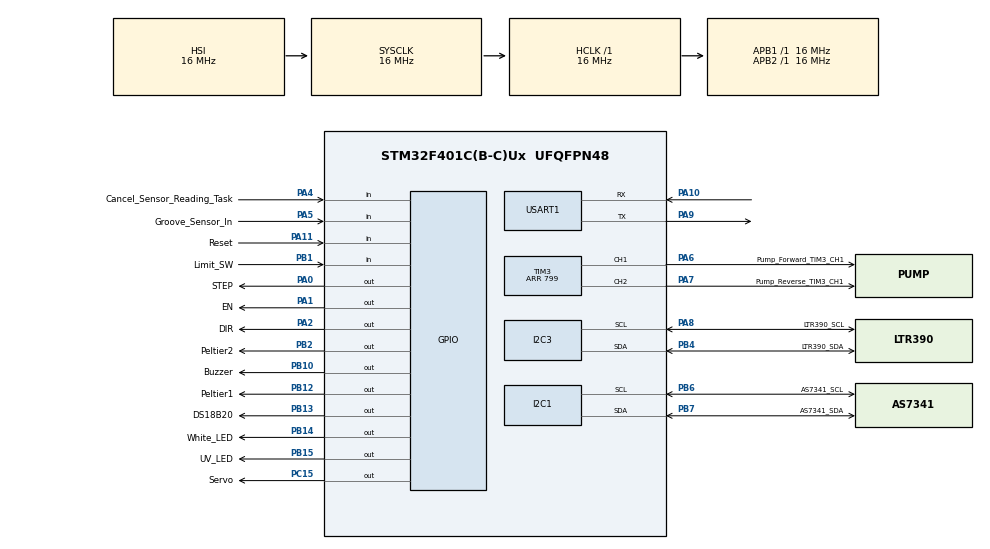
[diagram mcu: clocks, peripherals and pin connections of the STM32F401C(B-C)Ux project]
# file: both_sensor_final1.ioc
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Dma.Request0=USART1_RX
Dma.Request1=USART1_TX
Dma.USART1_RX.0.Direction=DMA_PERIPH_TO_MEMORY
Dma.USART1_RX.0.FIFOMode=DMA_FIFOMODE_DISABLE
Dma.USART1_RX.0.Instance=DMA2_Stream2
Dma.USART1_RX.0.MemDataAlignment=DMA_MDATAALIGN_BYTE
Dma.USART1_RX.0.MemInc=DMA_MINC_ENABLE
Dma.USART1_RX.0.Mode=DMA_NORMAL
Dma.USART1_RX.0.PeriphDataAlignment=DMA_PDATAALIGN_BYTE
Dma.USART1_RX.0.PeriphInc=DMA_PINC_DISABLE
Dma.USART1_RX.0.Priority=DMA_PRIORITY_HIGH
Dma.USART1_TX.1.Direction=DMA_MEMORY_TO_PERIPH
Dma.USART1_TX.1.FIFOMode=DMA_FIFOMODE_DISABLE
Dma.USART1_TX.1.Instance=DMA2_Stream7
Dma.USART1_TX.1.MemDataAlignment=DMA_MDATAALIGN_BYTE
Dma.USART1_TX.1.MemInc=DMA_MINC_ENABLE
Dma.USART1_TX.1.Mode=DMA_NORMAL
Dma.USART1_TX.1.PeriphDataAlignment=DMA_PDATAALIGN_BYTE
Dma.USART1_TX.1.PeriphInc=DMA_PINC_DISABLE
Dma.USART1_TX.1.Priority=DMA_PRIORITY_HIGH
FREERTOS.BinarySemaphores01=messageI2C1_Lock,Dynamic,NULL,Available
FREERTOS.Mutexes01=pumpMutex,Dynamic,NULL,Available;uart1Mutex,Dynamic,NULL,Available;waitForIdleMutex,Dynamic,NULL,Available
FREERTOS.Tasks01=AS7341_Send,24,256,StartAS7341Task,Default,NULL,Dynamic,NULL,NULL;Send_LTR390,24,256,StartLTR390,Default,NULL,Dynamic,NULL,NULL;UartSend,40,128,SendUART,Default,NULL,Dynamic,NULL,NULL;Stepper_Home,24,128,StartStepperHome,Default,NULL,Dynamic,NULL,NULL;White_Led_Align,24,128,White_Led,Default,NULL,Dynamic,NULL,NULL;UV_Led_Align,24,128,UV_Led,Default,NULL,Dynamic,NULL,NULL;Aspirate,24,128,Aspirate_Sample,Default,NULL,Dynamic,NULL,NULL;Command_Dispatc,40,256,Command_Dispatcher,Default,NULL,Dynamic,NULL,NULL;Limit_sw,32,128,Limit_sw_pressed,Default,NULL,Dynamic,NULL,NULL;Clean_Flow_Cell,24,128,Flow_Cell_Clean,Default,NULL,Dynamic,NULL,NULL;initialize_pump,8,128,pump_initialize,Default,NULL,Dynamic,NULL,NULL;Reset,32,128,reset,Default,NULL,Dynamic,NULL,NULL;Cancel_Sensor_R,8,128,Cancel_Read_Sensor,Default,NULL,Dynamic,NULL,NULL
FREERTOS.configUSE_NEWLIB_REENTRANT=1
Mcu.Family=STM32F4
Mcu.Name=STM32F401C(B-C)Ux
Mcu.Package=UFQFPN48
NVIC.DMA2_Stream2_IRQn=true\:5\:0\:false\:false\:true\:true\:false\:true\:true
NVIC.DMA2_Stream7_IRQn=true\:5\:0\:false\:false\:true\:true\:false\:true\:true
NVIC.I2C1_ER_IRQn=true\:5\:0\:false\:false\:true\:true\:true\:true\:true
NVIC.I2C1_EV_IRQn=true\:5\:0\:false\:false\:true\:true\:true\:true\:true
NVIC.I2C3_ER_IRQn=true\:5\:0\:false\:false\:true\:true\:true\:true\:true
NVIC.I2C3_EV_IRQn=true\:5\:0\:false\:false\:true\:true\:true\:true\:true
NVIC.PriorityGroup=NVIC_PRIORITYGROUP_4
NVIC.TIM3_IRQn=true\:5\:0\:false\:false\:true\:true\:true\:true\:true
NVIC.TIM4_IRQn=true\:15\:0\:false\:false\:true\:false\:false\:true\:true
NVIC.TimeBase=TIM4_IRQn
NVIC.TimeBaseIP=TIM4
NVIC.USART1_IRQn=true\:5\:0\:false\:false\:true\:true\:true\:true\:true
PA0-WKUP.GPIO_Label=STEP
PA0-WKUP.Signal=GPIO_Output
PA1.GPIO_Label=EN
PA1.PinState=GPIO_PIN_SET
PA1.Signal=GPIO_Output
PA10.Mode=Asynchronous
PA10.Signal=USART1_RX
PA11.GPIO_Label=Reset
PA11.GPIO_PuPd=GPIO_PULLDOWN
PA11.Signal=GPIO_Input
PA13.Mode=Trace_Asynchronous_SW
PA13.Signal=SYS_JTMS-SWDIO
PA14.Mode=Trace_Asynchronous_SW
PA14.Signal=SYS_JTCK-SWCLK
PA2.GPIO_Label=DIR
PA2.Signal=GPIO_Output
PA4.GPIO_Label=Cancel_Sensor_Reading_Task
PA4.GPIO_PuPd=GPIO_PULLDOWN
PA4.Signal=GPIO_Input
PA5.GPIO_Label=Groove_Sensor_In
PA5.Signal=GPIO_Input
PA6.GPIO_Label=Pump_Forward_TIM3_CH1
PA6.Signal=S_TIM3_CH1
PA7.GPIO_Label=Pump_Reverse_TIM3_CH1
PA7.Signal=S_TIM3_CH2
PA8.GPIO_Label=LTR390_SCL
PA8.Mode=I2C
PA8.Signal=I2C3_SCL
PA9.Mode=Asynchronous
PA9.Signal=USART1_TX
PB1.GPIO_Label=Limit_SW
PB1.GPIO_PuPd=GPIO_PULLDOWN
PB1.Signal=GPIO_Input
PB10.GPIO_Label=Buzzer
PB10.Signal=GPIO_Output
PB12.GPIO_Label=Peltier1
PB12.Signal=GPIO_Output
PB13.GPIO_Label=DS18B20
PB13.GPIO_ModeDefaultOutputPP=GPIO_MODE_OUTPUT_OD
PB13.GPIO_PuPd=GPIO_NOPULL
PB13.Signal=GPIO_Output
PB14.GPIO_Label=White_LED
PB14.Signal=GPIO_Output
PB15.GPIO_Label=UV_LED
PB15.Signal=GPIO_Output
PB2.GPIO_Label=Peltier2
PB2.Signal=GPIO_Output
PB3.Mode=Trace_Asynchronous_SW
PB3.Signal=SYS_JTDO-SWO
PB4.GPIO_Label=LTR390_SDA
PB4.Mode=I2C
PB4.Signal=I2C3_SDA
PB6.GPIO_Label=AS7341_SCL
PB6.Mode=I2C
PB6.Signal=I2C1_SCL
PB7.GPIO_Label=AS7341_SDA
PB7.Mode=I2C
PB7.Signal=I2C1_SDA
PC15-OSC32_OUT.GPIO_Label=Servo
PC15-OSC32_OUT.Signal=GPIO_Output
ProjectManager.HeapSize=0x200
ProjectManager.StackSize=0x400
ProjectManager.TargetToolchain=STM32CubeIDE
RCC.AHBFreq_Value=16000000
RCC.APB1Freq_Value=16000000
RCC.APB2Freq_Value=16000000
RCC.CortexFreq_Value=16000000
RCC.HSE_VALUE=25000000
RCC.HSI_VALUE=16000000
RCC.LSE_VALUE=32768
RCC.SYSCLKFreq_VALUE=16000000
RCC.VCOOutputFreq_Value=192000000
SH.S_TIM3_CH1.0=TIM3_CH1,PWM Generation1 CH1
SH.S_TIM3_CH2.0=TIM3_CH2,PWM Generation2 CH2
TIM2.AutoReloadPreload=TIM_AUTORELOAD_PRELOAD_ENABLE
TIM2.Period=999
TIM2.Prescaler=83
TIM3.AutoReloadPreload=TIM_AUTORELOAD_PRELOAD_ENABLE
TIM3.Channel-PWM\ Generation1\ CH1=TIM_CHANNEL_1
TIM3.Channel-PWM\ Generation2\ CH2=TIM_CHANNEL_2
TIM3.Period=799
USART1.VirtualMode=VM_ASYNC
VP_FREERTOS_VS_CMSIS_V2.Mode=CMSIS_V2
VP_SYS_VS_tim4.Mode=TIM4
VP_TIM2_VS_ClockSourceINT.Mode=Internal
board=custom

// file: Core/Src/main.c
/* USER CODE BEGIN Header */
/**
  ******************************************************************************
  * @file           : main.c
  * @brief          : Main program body
  ******************************************************************************
  * @attention
  *
  * Copyright (c) 2026 STMicroelectronics.
  * All rights reserved.
  *
  * This software is licensed under terms that can be found in the LICENSE file
  * in the root directory of this software component.
  * If no LICENSE file comes with this software, it is provided AS-IS.
  *
  ******************************************************************************
  */
/* USER CODE END Header */
#include "main.h"
#include "cmsis_os.h"

/* USER CODE BEGIN Includes */
#include "Adafruit_AS7341.h"
#include "LTR390.h"
#include <string.h>
#include <stdio.h>

#include "Stepper.h"
#include "pump.h"

#include <stdarg.h>  /* Add this for variadic functions */
/* USER CODE END Includes */

/* USER CODE BEGIN PTD */
typedef struct
{
    uint8_t sensor;
    uint32_t duration;
    uint32_t incubation;
    uint32_t delay;      /* Delay between readings in seconds */
    uint8_t start;      /* 1=sensor, 2=stepper, 3=white, 4=uv, 5=aspirate, 6=clean */
} UART_ExecutionCommand_t;

typedef enum {
    STATE_IDLE = 0,
    STATE_WHITE_LED_ALIGN,
    STATE_UV_LED_ALIGN,
    STATE_STEPPER_HOME,
    STATE_ASPIRATE_SAMPLE,
    STATE_AS7341_MEASURE,
    STATE_LTR390_MEASURE,
	STATE_FLOW_CELL_CLEAN
} SystemState_t;
/* USER CODE END PTD */

/* USER CODE BEGIN PD */
#define SENSOR_NONE    0
#define SENSOR_AS7341  1
#define SENSOR_LTR390  2

#define LED_ON  1
#define LED_OFF 0

#define CANCEL_POLL_MS 25

#define TX_QUEUE_WAIT_TICKS 20

#define RX_BUFFER_SIZE 64

/* Add this for mutex timeouts */
#define MUTEX_TIMEOUT_MS    1000
#define MUTEX_TIMEOUT_TICKS (MUTEX_TIMEOUT_MS * configTICK_RATE_HZ / 1000)

#define BUSY_GRACE_MS 250
/* USER CODE END PD */

I2C_HandleTypeDef hi2c1;
I2C_HandleTypeDef hi2c3;

TIM_HandleTypeDef htim2;
TIM_HandleTypeDef htim3;

UART_HandleTypeDef huart1;
DMA_HandleTypeDef hdma_usart1_rx;
DMA_HandleTypeDef hdma_usart1_tx;

/* Definitions for AS7341_Send */
osThreadId_t AS7341_SendHandle;
const osThreadAttr_t AS7341_Send_attributes = {
  .name = "AS7341_Send",
  .stack_size = 256 * 4,
  .priority = (osPriority_t) osPriorityNormal,
};
/* Definitions for Send_LTR390 */
osThreadId_t Send_LTR390Handle;
const osThreadAttr_t Send_LTR390_attributes = {
  .name = "Send_LTR390",
  .stack_size = 256 * 4,
  .priority = (osPriority_t) osPriorityNormal,
};
/* Definitions for UartSend */
osThreadId_t UartSendHandle;
const osThreadAttr_t UartSend_attributes = {
  .name = "UartSend",
  .stack_size = 128 * 4,
  .priority = (osPriority_t) osPriorityHigh,
};
/* Definitions for Stepper_Home */
osThreadId_t Stepper_HomeHandle;
const osThreadAttr_t Stepper_Home_attributes = {
  .name = "Stepper_Home",
  .stack_size = 128 * 4,
  .priority = (osPriority_t) osPriorityNormal,
};
/* Definitions for White_Led_Align */
osThreadId_t White_Led_AlignHandle;
const osThreadAttr_t White_Led_Align_attributes = {
  .name = "White_Led_Align",
  .stack_size = 128 * 4,
  .priority = (osPriority_t) osPriorityNormal,
};
/* Definitions for UV_Led_Align */
osThreadId_t UV_Led_AlignHandle;
const osThreadAttr_t UV_Led_Align_attributes = {
  .name = "UV_Led_Align",
  .stack_size = 128 * 4,
  .priority = (osPriority_t) osPriorityNormal,
};
/* Definitions for Aspirate */
osThreadId_t AspirateHandle;
const osThreadAttr_t Aspirate_attributes = {
  .name = "Aspirate",
  .stack_size = 128 * 4,
  .priority = (osPriority_t) osPriorityNormal,
};
/* Definitions for Command_Dispatc */
osThreadId_t Command_DispatcHandle;
const osThreadAttr_t Command_Dispatc_attributes = {
  .name = "Command_Dispatc",
  .stack_size = 256 * 4,
  .priority = (osPriority_t) osPriorityHigh,
};
/* Definitions for Limit_sw */
osThreadId_t Limit_swHandle;
const osThreadAttr_t Limit_sw_attributes = {
  .name = "Limit_sw",
  .stack_size = 128 * 4,
  .priority = (osPriority_t) osPriorityAboveNormal,
};
/* Definitions for Clean_Flow_Cell */
osThreadId_t Clean_Flow_CellHandle;
const osThreadAttr_t Clean_Flow_Cell_attributes = {
  .name = "Clean_Flow_Cell",
  .stack_size = 128 * 4,
  .priority = (osPriority_t) osPriorityNormal,
};
/* Definitions for initialize_pump */
osThreadId_t initialize_pumpHandle;
const osThreadAttr_t initialize_pump_attributes = {
  .name = "initialize_pump",
  .stack_size = 128 * 4,
  .priority = (osPriority_t) osPriorityLow,
};
/* Definitions for Reset */
osThreadId_t ResetHandle;
const osThreadAttr_t Reset_attributes = {
  .name = "Reset",
  .stack_size = 128 * 4,
  .priority = (osPriority_t) osPriorityAboveNormal,
};
/* Definitions for Cancel_Sensor_R */
osThreadId_t Cancel_Sensor_RHandle;
const osThreadAttr_t Cancel_Sensor_R_attributes = {
  .name = "Cancel_Sensor_R",
  .stack_size = 128 * 4,
  .priority = (osPriority_t) osPriorityLow,
};
/* Definitions for pumpMutex */
osMutexId_t pumpMutexHandle;
const osMutexAttr_t pumpMutex_attributes = {
  .name = "pumpMutex"
};
/* Definitions for uart1Mutex */
//osMutexId_t uart1MutexHandle;
//const osMutexAttr_t uart1Mutex_attributes = {
//  .name = "uart1Mutex"
//};
/* Definitions for waitForIdleMutex */
osMutexId_t waitForIdleMutexHandle;
const osMutexAttr_t waitForIdleMutex_attributes = {
  .name = "waitForIdleMutex"
};
/* Definitions for messageI2C1_Lock */
osSemaphoreId_t messageI2C1_LockHandle;
const osSemaphoreAttr_t messageI2C1_Lock_attributes = {
  .name = "messageI2C1_Lock"
};
/* USER CODE BEGIN PV */

/* UART TX Queue */
osMessageQueueId_t uartTxQueueHandle;

const osMessageQueueAttr_t uartTxQueue_attributes = {
    .name = "uartTxQueue"
};

/* UART RX Queue */
osMessageQueueId_t uartRxQueueHandle;

const osMessageQueueAttr_t uartRxQueue_attributes = {
    .name = "uartRxQueue"
};

Adafruit_AS7341_t as7341;
uint16_t spectral[10];

volatile uint32_t uv340 = 0;

uint8_t rxByte;
volatile char rxBuffer[RX_BUFFER_SIZE];
uint8_t rxIndex = 0;

uint8_t AS7341_Present = 0;

volatile SystemState_t systemState = STATE_IDLE;
volatile uint8_t limitSwitchPressed = 0;

volatile uint8_t initializePumpRequested = 0;

volatile uint8_t cancelSensorReading = 0;

volatile uint32_t uartTxQueueFull = 0;

/* UART TX Message Structure */
#define UART_TX_MSG_SIZE 128

typedef struct
{
    uint16_t length;
    uint8_t data[UART_TX_MSG_SIZE];
} UART_TxMessage_t;

/* RX Command Queue Structure */
#define RX_COMMAND_QUEUE_SIZE 10
#define RX_COMMAND_SIZE       64

typedef struct
{
    char command[RX_COMMAND_SIZE];
} UART_CommandMessage_t;

volatile UART_ExecutionCommand_t uartCmdTemp = {0};

volatile uint32_t uartErrorCode = 0;

volatile uint8_t measurementComplete = 0;  // Flag to indicate measurement is done

volatile uint32_t uartRxQueueOverflow = 0;
volatile uint8_t  uartRxQueueOverflowFlag = 0;   /* set by ISR, cleared by dispatcher */

/* ===== UART DMA RX ===== */
#define UART_RX_DMA_SIZE 128
static uint8_t uartRxDMA[UART_RX_DMA_SIZE];

/* Persistent line assembler — survives across RxEvent callbacks */
static char     rxLineBuf[RX_COMMAND_SIZE];
static uint16_t rxLineIdx = 0;

volatile uint32_t uartRxIdleEvents   = 0;
volatile uint32_t uartRxHalfEvents   = 0;
volatile uint32_t uartRxDmaErrors    = 0;

/* ===== UART DMA TX ===== */
static UART_TxMessage_t uartTxCurrent;      /* must outlive the DMA */
static osSemaphoreId_t  uartTxDoneSemHandle;
static const osSemaphoreAttr_t uartTxDoneSem_attributes = {
    .name = "uartTxDoneSem"
};
/* USER CODE END PV */

void SystemClock_Config(void);
static void MX_GPIO_Init(void);
static void MX_DMA_Init(void);
static void MX_I2C1_Init(void);
static void MX_I2C3_Init(void);
static void MX_USART1_UART_Init(void);
static void MX_TIM2_Init(void);
static void MX_TIM3_Init(void);
void StartAS7341Task(void *argument);
void StartLTR390(void *argument);
void SendUART(void *argument);
void StartStepperHome(void *argument);
void White_Led(void *argument);
void UV_Led(void *argument);
void Aspirate_Sample(void *argument);
void Command_Dispatcher(void *argument);
void Limit_sw_pressed(void *argument);
void Flow_Cell_Clean(void *argument);
void pump_initialize(void *argument);
void reset(void *argument);
void Cancel_Read_Sensor(void *argument);

/* USER CODE BEGIN PFP */
void ControlWhiteLED(uint8_t state);

void UART_Send(const char *message);
void UART_SendFormatted(const char *format, ...);
void ProcessUARTCommand(const char *command);

void WaitForIdleAndClean(void);

uint8_t WaitUntilOrAbort(uint32_t targetTick);
uint8_t WaitMsOrAbort(uint32_t ms);
void FinishAbortedRun(void);
/* USER CODE END PFP */

int main(void)
{

  /* MCU Configuration--------------------------------------------------------*/

  /* Reset of all peripherals, Initializes the Flash interface and the Systick. */
  HAL_Init();

  /* Configure the system clock */
  SystemClock_Config();

  /* Initialize all configured peripherals */
  MX_GPIO_Init();
  MX_DMA_Init();
  MX_I2C1_Init();
  MX_I2C3_Init();
  MX_USART1_UART_Init();
  MX_TIM2_Init();
  MX_TIM3_Init();
  /* USER CODE BEGIN 2 */
  PUMP_Init(&htim3);

  __HAL_UART_CLEAR_OREFLAG(&huart1);
  __HAL_UART_CLEAR_FEFLAG(&huart1);
  __HAL_UART_CLEAR_NEFLAG(&huart1);
  __HAL_UART_CLEAR_PEFLAG(&huart1);
  (void)huart1.Instance->DR;      /* read DR to clear RXNE if set */
  (void)huart1.Instance->SR;

//  ControlWhiteLED(LED_ON);   // WHITE LED ALWAYS ON

  /* USER CODE END 2 */

  /* Init scheduler */
  osKernelInitialize();
  /* Create the mutex(es) */
  /* creation of pumpMutex */
  pumpMutexHandle = osMutexNew(&pumpMutex_attributes);

  /* creation of uart1Mutex */
//  uart1MutexHandle = osMutexNew(&uart1Mutex_attributes);

  /* creation of waitForIdleMutex */
  waitForIdleMutexHandle = osMutexNew(&waitForIdleMutex_attributes);

  /* Create the semaphores(s) */
  /* creation of messageI2C1_Lock */
  messageI2C1_LockHandle = osSemaphoreNew(1, 1, &messageI2C1_Lock_attributes);

  /* USER CODE BEGIN RTOS_SEMAPHORES */

  uartTxDoneSemHandle = osSemaphoreNew(1, 0, &uartTxDoneSem_attributes);
  /* count=1, initial=0 → starts "empty" */

  /* add semaphores, ... */
  /* USER CODE END RTOS_SEMAPHORES */

  /* USER CODE BEGIN RTOS_QUEUES */
  uartTxQueueHandle = osMessageQueueNew(
      20,
      sizeof(UART_TxMessage_t),
      &uartTxQueue_attributes
  );

  uartRxQueueHandle = osMessageQueueNew(
      RX_COMMAND_QUEUE_SIZE,
      sizeof(UART_CommandMessage_t),
      &uartRxQueue_attributes
  );

//  HAL_UART_Receive_IT(&huart1, &rxByte, 1);
  HAL_UARTEx_ReceiveToIdle_DMA(&huart1, uartRxDMA, UART_RX_DMA_SIZE);
  __HAL_DMA_DISABLE_IT(&hdma_usart1_rx, DMA_IT_HT);   /* suppress HT events */

  /* add queues, ... */
  /* USER CODE END RTOS_QUEUES */

  /* Create the thread(s) */
  /* creation of AS7341_Send */
  AS7341_SendHandle = osThreadNew(StartAS7341Task, NULL, &AS7341_Send_attributes);

  /* creation of Send_LTR390 */
  Send_LTR390Handle = osThreadNew(StartLTR390, NULL, &Send_LTR390_attributes);

  /* creation of UartSend */
  UartSendHandle = osThreadNew(SendUART, NULL, &UartSend_attributes);

  /* creation of Stepper_Home */
  Stepper_HomeHandle = osThreadNew(StartStepperHome, NULL, &Stepper_Home_attributes);

  /* creation of White_Led_Align */
  White_Led_AlignHandle = osThreadNew(White_Led, NULL, &White_Led_Align_attributes);

  /* creation of UV_Led_Align */
  UV_Led_AlignHandle = osThreadNew(UV_Led, NULL, &UV_Led_Align_attributes);

  /* creation of Aspirate */
  AspirateHandle = osThreadNew(Aspirate_Sample, NULL, &Aspirate_attributes);

  /* creation of Command_Dispatc */
  Command_DispatcHandle = osThreadNew(Command_Dispatcher, NULL, &Command_Dispatc_attributes);

  /* creation of Limit_sw */
  Limit_swHandle = osThreadNew(Limit_sw_pressed, NULL, &Limit_sw_attributes);

  /* creation of Clean_Flow_Cell */
  Clean_Flow_CellHandle = osThreadNew(Flow_Cell_Clean, NULL, &Clean_Flow_Cell_attributes);

  /* creation of initialize_pump */
  initialize_pumpHandle = osThreadNew(pump_initialize, NULL, &initialize_pump_attributes);

  /* creation of Reset */
  ResetHandle = osThreadNew(reset, NULL, &Reset_attributes);

  /* creation of Cancel_Sensor_R */
  Cancel_Sensor_RHandle = osThreadNew(Cancel_Read_Sensor, NULL, &Cancel_Sensor_R_attributes);

  /* Start scheduler */
  osKernelStart();

  /* We should never get here as control is now taken by the scheduler */

  /* Infinite loop */
  while (1)
  {

  }
}

void SystemClock_Config(void)
{
  RCC_OscInitTypeDef RCC_OscInitStruct = {0};
  RCC_ClkInitTypeDef RCC_ClkInitStruct = {0};

  /** Configure the main internal regulator output voltage
  */
  __HAL_RCC_PWR_CLK_ENABLE();
  __HAL_PWR_VOLTAGESCALING_CONFIG(PWR_REGULATOR_VOLTAGE_SCALE2);

  /** Initializes the RCC Oscillators according to the specified parameters
  * in the RCC_OscInitTypeDef structure.
  */
  RCC_OscInitStruct.OscillatorType = RCC_OSCILLATORTYPE_HSI;
  RCC_OscInitStruct.HSIState = RCC_HSI_ON;
  RCC_OscInitStruct.HSICalibrationValue = RCC_HSICALIBRATION_DEFAULT;
  RCC_OscInitStruct.PLL.PLLState = RCC_PLL_NONE;
  if (HAL_RCC_OscConfig(&RCC_OscInitStruct) != HAL_OK)
  {
    Error_Handler();
  }

  /** Initializes the CPU, AHB and APB buses clocks
  */
  RCC_ClkInitStruct.ClockType = RCC_CLOCKTYPE_HCLK|RCC_CLOCKTYPE_SYSCLK
                              |RCC_CLOCKTYPE_PCLK1|RCC_CLOCKTYPE_PCLK2;
  RCC_ClkInitStruct.SYSCLKSource = RCC_SYSCLKSOURCE_HSI;
  RCC_ClkInitStruct.AHBCLKDivider = RCC_SYSCLK_DIV1;
  RCC_ClkInitStruct.APB1CLKDivider = RCC_HCLK_DIV1;
  RCC_ClkInitStruct.APB2CLKDivider = RCC_HCLK_DIV1;

  if (HAL_RCC_ClockConfig(&RCC_ClkInitStruct, FLASH_LATENCY_0) != HAL_OK)
  {
    Error_Handler();
  }
}

static void MX_I2C1_Init(void)
{

  hi2c1.Instance = I2C1;
  hi2c1.Init.ClockSpeed = 100000;
  hi2c1.Init.DutyCycle = I2C_DUTYCYCLE_2;
  hi2c1.Init.OwnAddress1 = 0;
  hi2c1.Init.AddressingMode = I2C_ADDRESSINGMODE_7BIT;
  hi2c1.Init.DualAddressMode = I2C_DUALADDRESS_DISABLE;
  hi2c1.Init.OwnAddress2 = 0;
  hi2c1.Init.GeneralCallMode = I2C_GENERALCALL_DISABLE;
  hi2c1.Init.NoStretchMode = I2C_NOSTRETCH_DISABLE;
  if (HAL_I2C_Init(&hi2c1) != HAL_OK)
  {
    Error_Handler();
  }

}

static void MX_I2C3_Init(void)
{

  hi2c3.Instance = I2C3;
  hi2c3.Init.ClockSpeed = 100000;
  hi2c3.Init.DutyCycle = I2C_DUTYCYCLE_2;
  hi2c3.Init.OwnAddress1 = 0;
  hi2c3.Init.AddressingMode = I2C_ADDRESSINGMODE_7BIT;
  hi2c3.Init.DualAddressMode = I2C_DUALADDRESS_DISABLE;
  hi2c3.Init.OwnAddress2 = 0;
  hi2c3.Init.GeneralCallMode = I2C_GENERALCALL_DISABLE;
  hi2c3.Init.NoStretchMode = I2C_NOSTRETCH_DISABLE;
  if (HAL_I2C_Init(&hi2c3) != HAL_OK)
  {
    Error_Handler();
  }

}

static void MX_TIM2_Init(void)
{

  TIM_ClockConfigTypeDef sClockSourceConfig = {0};
  TIM_MasterConfigTypeDef sMasterConfig = {0};

  htim2.Instance = TIM2;
  htim2.Init.Prescaler = 83;
  htim2.Init.CounterMode = TIM_COUNTERMODE_UP;
  htim2.Init.Period = 999;
  htim2.Init.ClockDivision = TIM_CLOCKDIVISION_DIV1;
  htim2.Init.AutoReloadPreload = TIM_AUTORELOAD_PRELOAD_ENABLE;
  if (HAL_TIM_Base_Init(&htim2) != HAL_OK)
  {
    Error_Handler();
  }
  sClockSourceConfig.ClockSource = TIM_CLOCKSOURCE_INTERNAL;
  if (HAL_TIM_ConfigClockSource(&htim2, &sClockSourceConfig) != HAL_OK)
  {
    Error_Handler();
  }
  sMasterConfig.MasterOutputTrigger = TIM_TRGO_RESET;
  sMasterConfig.MasterSlaveMode = TIM_MASTERSLAVEMODE_DISABLE;
  if (HAL_TIMEx_MasterConfigSynchronization(&htim2, &sMasterConfig) != HAL_OK)
  {
    Error_Handler();
  }

}

static void MX_TIM3_Init(void)
{

  TIM_MasterConfigTypeDef sMasterConfig = {0};
  TIM_OC_InitTypeDef sConfigOC = {0};

  htim3.Instance = TIM3;
  htim3.Init.Prescaler = 0;
  htim3.Init.CounterMode = TIM_COUNTERMODE_UP;
  htim3.Init.Period = 799;
  htim3.Init.ClockDivision = TIM_CLOCKDIVISION_DIV1;
  htim3.Init.AutoReloadPreload = TIM_AUTORELOAD_PRELOAD_ENABLE;
  if (HAL_TIM_PWM_Init(&htim3) != HAL_OK)
  {
    Error_Handler();
  }
  sMasterConfig.MasterOutputTrigger = TIM_TRGO_RESET;
  sMasterConfig.MasterSlaveMode = TIM_MASTERSLAVEMODE_DISABLE;
  if (HAL_TIMEx_MasterConfigSynchronization(&htim3, &sMasterConfig) != HAL_OK)
  {
    Error_Handler();
  }
  sConfigOC.OCMode = TIM_OCMODE_PWM1;
  sConfigOC.Pulse = 0;
  sConfigOC.OCPolarity = TIM_OCPOLARITY_HIGH;
  sConfigOC.OCFastMode = TIM_OCFAST_DISABLE;
  if (HAL_TIM_PWM_ConfigChannel(&htim3, &sConfigOC, TIM_CHANNEL_1) != HAL_OK)
  {
    Error_Handler();
  }
  if (HAL_TIM_PWM_ConfigChannel(&htim3, &sConfigOC, TIM_CHANNEL_2) != HAL_OK)
  {
    Error_Handler();
  }
  HAL_TIM_MspPostInit(&htim3);

}

static void MX_USART1_UART_Init(void)
{

  huart1.Instance = USART1;
  huart1.Init.BaudRate = 115200;
  huart1.Init.WordLength = UART_WORDLENGTH_8B;
  huart1.Init.StopBits = UART_STOPBITS_1;
  huart1.Init.Parity = UART_PARITY_NONE;
  huart1.Init.Mode = UART_MODE_TX_RX;
  huart1.Init.HwFlowCtl = UART_HWCONTROL_NONE;
  huart1.Init.OverSampling = UART_OVERSAMPLING_16;
  if (HAL_UART_Init(&huart1) != HAL_OK)
  {
    Error_Handler();
  }
  /* USER CODE BEGIN USART1_Init 2 */
//  HAL_UART_Receive_IT(&huart1, &rxByte, 1);
  /* USER CODE END USART1_Init 2 */

}

static void MX_DMA_Init(void)
{

  /* DMA controller clock enable */
  __HAL_RCC_DMA2_CLK_ENABLE();

  /* DMA interrupt init */
  /* DMA2_Stream2_IRQn interrupt configuration */
  HAL_NVIC_SetPriority(DMA2_Stream2_IRQn, 5, 0);
  HAL_NVIC_EnableIRQ(DMA2_Stream2_IRQn);
  /* DMA2_Stream7_IRQn interrupt configuration */
  HAL_NVIC_SetPriority(DMA2_Stream7_IRQn, 5, 0);
  HAL_NVIC_EnableIRQ(DMA2_Stream7_IRQn);

}

static void MX_GPIO_Init(void)
{
  GPIO_InitTypeDef GPIO_InitStruct = {0};

  /* GPIO Ports Clock Enable */
  __HAL_RCC_GPIOC_CLK_ENABLE();
  __HAL_RCC_GPIOA_CLK_ENABLE();
  __HAL_RCC_GPIOB_CLK_ENABLE();

  /*Configure GPIO pin Output Level */
  HAL_GPIO_WritePin(Servo_GPIO_Port, Servo_Pin, GPIO_PIN_RESET);

  /*Configure GPIO pin Output Level */
  HAL_GPIO_WritePin(GPIOA, STEP_Pin|DIR_Pin, GPIO_PIN_RESET);

  /*Configure GPIO pin Output Level */
  HAL_GPIO_WritePin(EN_GPIO_Port, EN_Pin, GPIO_PIN_SET);

  /*Configure GPIO pin Output Level */
  HAL_GPIO_WritePin(GPIOB, Peltier2_Pin|Buzzer_Pin|Peltier1_Pin|DS18B20_Pin
                          |White_LED_Pin|UV_LED_Pin, GPIO_PIN_RESET);

  /*Configure GPIO pin : Servo_Pin */
  GPIO_InitStruct.Pin = Servo_Pin;
  GPIO_InitStruct.Mode = GPIO_MODE_OUTPUT_PP;
  GPIO_InitStruct.Pull = GPIO_NOPULL;
  GPIO_InitStruct.Speed = GPIO_SPEED_FREQ_LOW;
  HAL_GPIO_Init(Servo_GPIO_Port, &GPIO_InitStruct);

  /*Configure GPIO pins : STEP_Pin EN_Pin DIR_Pin */
  GPIO_InitStruct.Pin = STEP_Pin|EN_Pin|DIR_Pin;
  GPIO_InitStruct.Mode = GPIO_MODE_OUTPUT_PP;
  GPIO_InitStruct.Pull = GPIO_NOPULL;
  GPIO_InitStruct.Speed = GPIO_SPEED_FREQ_LOW;
  HAL_GPIO_Init(GPIOA, &GPIO_InitStruct);

  /*Configure GPIO pins : Cancel_Sensor_Reading_Task_Pin Reset_Pin */
  GPIO_InitStruct.Pin = Cancel_Sensor_Reading_Task_Pin|Reset_Pin;
  GPIO_InitStruct.Mode = GPIO_MODE_INPUT;
  GPIO_InitStruct.Pull = GPIO_PULLDOWN;
  HAL_GPIO_Init(GPIOA, &GPIO_InitStruct);

  /*Configure GPIO pin : Groove_Sensor_In_Pin */
  GPIO_InitStruct.Pin = Groove_Sensor_In_Pin;
  GPIO_InitStruct.Mode = GPIO_MODE_INPUT;
  GPIO_InitStruct.Pull = GPIO_NOPULL;
  HAL_GPIO_Init(Groove_Sensor_In_GPIO_Port, &GPIO_InitStruct);

  /*Configure GPIO pin : Limit_SW_Pin */
  GPIO_InitStruct.Pin = Limit_SW_Pin;
  GPIO_InitStruct.Mode = GPIO_MODE_INPUT;
  GPIO_InitStruct.Pull = GPIO_PULLDOWN;
  HAL_GPIO_Init(Limit_SW_GPIO_Port, &GPIO_InitStruct);

  /*Configure GPIO pins : Peltier2_Pin Buzzer_Pin Peltier1_Pin White_LED_Pin
                           UV_LED_Pin */
  GPIO_InitStruct.Pin = Peltier2_Pin|Buzzer_Pin|Peltier1_Pin|White_LED_Pin
                          |UV_LED_Pin;
  GPIO_InitStruct.Mode = GPIO_MODE_OUTPUT_PP;
  GPIO_InitStruct.Pull = GPIO_NOPULL;
  GPIO_InitStruct.Speed = GPIO_SPEED_FREQ_LOW;
  HAL_GPIO_Init(GPIOB, &GPIO_InitStruct);

  /*Configure GPIO pin : DS18B20_Pin */
  GPIO_InitStruct.Pin = DS18B20_Pin;
  GPIO_InitStruct.Mode = GPIO_MODE_OUTPUT_OD;
  GPIO_InitStruct.Pull = GPIO_NOPULL;
  GPIO_InitStruct.Speed = GPIO_SPEED_FREQ_LOW;
  HAL_GPIO_Init(DS18B20_GPIO_Port, &GPIO_InitStruct);

}

/* USER CODE BEGIN 4 */

//void HAL_UART_RxCpltCallback(UART_HandleTypeDef *huart)
//{
//    static char cmdBuffer[RX_COMMAND_SIZE];
//    static uint8_t cmdIndex = 0;
//    osStatus_t status;
//
//    if (huart->Instance == USART1)
//    {
//        if (rxByte == '\r' || rxByte == '\n')
//        {
//            if (cmdIndex > 0)
//            {
//                cmdBuffer[cmdIndex] = '\0';
//
//                /* Trim trailing newline if present */
//                if (cmdBuffer[cmdIndex - 1] == '\n')
//                {
//                    cmdBuffer[cmdIndex - 1] = '\0';
//                    cmdIndex--;
//                }
//
//                if (cmdIndex > 0)
//                {
//                    UART_CommandMessage_t msg;
//                    strncpy(msg.command, cmdBuffer, RX_COMMAND_SIZE - 1);
//                    msg.command[RX_COMMAND_SIZE - 1] = '\0';
//
//                    /* Put command into RX queue - non-blocking from ISR */
//                    status = osMessageQueuePut(uartRxQueueHandle, &msg, 0, 0);
//
//                    if (status != osOK)
//                    {
//                        /* RX queue full - increment overflow counter */
//                        uartRxQueueOverflow++;
//                        uartRxQueueOverflowFlag = 1;
//
//                        /* Debug: Queue full */
//                        // UART_Send("debug0: RX Queue Full\r\n");
//                    }
//                    else
//                    {
//                        /* Debug: Command queued successfully */
//                        // UART_Send("debug1: RX Command Queued\r\n");
//                    }
//                }
//
//                cmdIndex = 0;
//            }
//        }
//        else
//        {
//            if (cmdIndex < RX_COMMAND_SIZE - 1)
//            {
//                cmdBuffer[cmdIndex++] = rxByte;
//            }
//            else
//            {
//                /* Buffer overflow - reset */
//                cmdIndex = 0;
//                memset(cmdBuffer, 0, sizeof(cmdBuffer));
//
//                /* Debug: Buffer overflow */
//                // UART_Send("debug2: RX Buffer Overflow\r\n");
//            }
//        }
//
//        HAL_UART_Receive_IT(&huart1, (uint8_t *)&rxByte, 1);
//    }
//}

//void HAL_UART_RxCpltCallback(UART_HandleTypeDef *huart)
//{
//    static char cmdBuffer[RX_COMMAND_SIZE];
//    static uint8_t cmdIndex = 0;
//    osStatus_t status;
//
//    if (huart->Instance == USART1)
//    {
//        uint8_t b = rxByte;
//
//        if (b == '\r' || b == '\n')
//        {
//            if (cmdIndex > 0)
//            {
//                cmdBuffer[cmdIndex] = '\0';
//
//                /* Trim trailing CR if present */
//                if (cmdBuffer[cmdIndex - 1] == '\r')
//                {
//                    cmdBuffer[cmdIndex - 1] = '\0';
//                    cmdIndex--;
//                }
//
//                if (cmdIndex > 0)
//                {
//                    UART_CommandMessage_t msg;
//                    strncpy(msg.command, cmdBuffer, RX_COMMAND_SIZE - 1);
//                    msg.command[RX_COMMAND_SIZE - 1] = '\0';
//
//                    status = osMessageQueuePut(uartRxQueueHandle, &msg, 0, 0);
//                    if (status != osOK)
//                    {
//                        uartRxQueueOverflow++;
//                        uartRxQueueOverflowFlag = 1;
//                    }
//                }
//
//                cmdIndex = 0;
//            }
//        }
//        else if (b >= 0x20 && b <= 0x7E)   /* printable ASCII only */
//        {
//            if (cmdIndex < RX_COMMAND_SIZE - 1)
//            {
//                cmdBuffer[cmdIndex++] = (char)b;
//            }
//            else
//            {
//                cmdIndex = 0;
//                memset(cmdBuffer, 0, sizeof(cmdBuffer));
//            }
//        }
//        /* else: silently drop 0x00, 0xFF, break bytes, etc. */
//
//        HAL_UART_Receive_IT(&huart1, &rxByte, 1);
//    }
//}

void HAL_UARTEx_RxEventCallback(UART_HandleTypeDef *huart, uint16_t Size)
{
    if (huart->Instance != USART1) return;

    uartRxIdleEvents++;

    for (uint16_t i = 0; i < Size; i++)
    {
        char b = (char)uartRxDMA[i];

        if (b == '\r' || b == '\n')
        {
            if (rxLineIdx > 0)
            {
                rxLineBuf[rxLineIdx] = '\0';

                UART_CommandMessage_t msg;
                strncpy(msg.command, rxLineBuf, RX_COMMAND_SIZE - 1);
                msg.command[RX_COMMAND_SIZE - 1] = '\0';

                if (osMessageQueuePut(uartRxQueueHandle, &msg, 0, 0) != osOK)
                {
                    uartRxQueueOverflow++;
                    uartRxQueueOverflowFlag = 1;
                }
                rxLineIdx = 0;
            }
        }
        else if (b >= 0x20 && b <= 0x7E)
        {
            if (rxLineIdx < RX_COMMAND_SIZE - 1)
                rxLineBuf[rxLineIdx++] = b;
            else
                rxLineIdx = 0;   /* overflow → drop line */
        }
    }

    /* Re-arm RX DMA */
    if (HAL_UARTEx_ReceiveToIdle_DMA(&huart1, uartRxDMA, UART_RX_DMA_SIZE) != HAL_OK)
    {
        uartRxDmaErrors++;
    }
    __HAL_DMA_DISABLE_IT(&hdma_usart1_rx, DMA_IT_HT);
}

void HAL_UART_ErrorCallback(UART_HandleTypeDef *huart)
{
    if (huart->Instance == USART1)
    {
        uartErrorCode = HAL_UART_GetError(huart);

        HAL_UART_AbortReceive(huart);

        if (HAL_UARTEx_ReceiveToIdle_DMA(&huart1, uartRxDMA, UART_RX_DMA_SIZE) != HAL_OK)
        {
            uartRxDmaErrors++;
        }
        __HAL_DMA_DISABLE_IT(&hdma_usart1_rx, DMA_IT_HT);
    }
}

void ControlWhiteLED(uint8_t state)
{
    if (state == LED_ON)
    {
        HAL_GPIO_WritePin(White_LED_GPIO_Port, White_LED_Pin, GPIO_PIN_SET);
    }
    else
    {
        HAL_GPIO_WritePin(White_LED_GPIO_Port, White_LED_Pin, GPIO_PIN_RESET);
    }
}

uint8_t WaitUntilOrAbort(uint32_t targetTick)
{
    while ((int32_t)(targetTick - osKernelGetTickCount()) > 0)
    {
        uint32_t remaining;

        if (cancelSensorReading)
        {
            return 1;
        }

        remaining = targetTick - osKernelGetTickCount();
        osDelay((remaining > CANCEL_POLL_MS) ? CANCEL_POLL_MS : remaining);
    }

    return cancelSensorReading ? 1 : 0;
}

uint8_t WaitMsOrAbort(uint32_t ms)
{
    return WaitUntilOrAbort(osKernelGetTickCount() + ms);
}

void FinishAbortedRun(void)
{
    ControlWhiteLED(LED_OFF);
    HAL_GPIO_WritePin(UV_LED_GPIO_Port, UV_LED_Pin, GPIO_PIN_RESET);

    uartCmdTemp.start = 0;
    uartCmdTemp.sensor = SENSOR_NONE;

    cancelSensorReading = 0;
    measurementComplete = 1;
    systemState = STATE_IDLE;

    UART_Send("ABORT COMPLETE\r\n");

    osThreadYield();
}

void ProcessUARTCommand(const char *command)
{
    if (strcmp(command, "PING") == 0 || strcmp(command, "ping") == 0)
    {

        UART_Send("PONG\r\n");
        return;
    }
    else if (strcmp(command, "HELP") == 0 || strcmp(command, "help") == 0)
    {
        UART_Send(
            "Available commands:\r\n"
            "PING - Test connection\r\n"
            "STEPPER_HOME - Home the stepper motor\r\n"
            "WHITE_LED_ALIGN - Start white LED alignment\r\n"
            "UV_LED_ALIGN - Start UV LED alignment\r\n"
            "ASPIRATE - Run aspirate sample sequence\r\n"
            "AS7341,<duration>,<incubation>,<delay> - AS7341 sensor measurement\r\n"
            "LTR390,<duration>,<incubation>,<delay> - LTR390 sensor measurement\r\n"
            "CLEAN - Run flow cell cleaning\r\n"
            "CLEAN_WAIT - Wait for IDLE then run flow cell cleaning\r\n"
        );
        return;
    }

    if (strcmp(command, "CLEAN_WAIT") == 0 || strcmp(command, "clean_wait") == 0)
    {
        WaitForIdleAndClean();
        return;
    }

   if (strcmp(command, "STATUS") == 0 || strcmp(command, "status") == 0)
    {
        UART_SendFormatted("STATUS,%u,%u,%u\r\n",
                           (unsigned)systemState,
                           (unsigned)cancelSensorReading,
                           (unsigned)uartRxQueueOverflow);
        return;
    }

   if (strcmp(command, "ABORT") == 0 || strcmp(command, "abort") == 0)
    {
        cancelSensorReading = 1;
        UART_Send("ABORT ACKNOWLEDGED\r\n");

        if (systemState != STATE_AS7341_MEASURE &&
            systemState != STATE_LTR390_MEASURE)
        {
            cancelSensorReading = 0;
            UART_Send("ABORT COMPLETE\r\n");
        }

        return;
    }

    if (systemState != STATE_IDLE)
    {
        uint32_t graceEnd = osKernelGetTickCount() + BUSY_GRACE_MS;

        while (systemState != STATE_IDLE &&
               (int32_t)(graceEnd - osKernelGetTickCount()) > 0)
        {
            osDelay(1);
        }

        if (systemState != STATE_IDLE)
        {
            UART_Send("BUSY - Command rejected\r\n");
            return;
        }
    }

    UART_ExecutionCommand_t execCmd = {0};
    int start = 0;

    cancelSensorReading = 0;

    if (strcmp(command, "STEPPER_HOME") == 0 || strcmp(command, "stepper_home") == 0)
    {
        start = 2;
    }
    else if (strcmp(command, "WHITE_LED_ALIGN") == 0 || strcmp(command, "white_led_align") == 0)
    {
        start = 3;
    }
    else if (strcmp(command, "UV_LED_ALIGN") == 0 || strcmp(command, "uv_led_align") == 0)
    {
        start = 4;
    }
    else if (strcmp(command, "ASPIRATE") == 0 || strcmp(command, "aspirate") == 0 ||
             strcmp(command, "ASPIRATE_SAMPLE") == 0)
    {
        start = 5;
    }
    else if (strcmp(command, "CLEAN") == 0 || strcmp(command, "clean") == 0)
    {
        start = 6;
    }
    else
    {
        /* Parse sensor commands: SENSOR,duration,incubation,delay */
        char sensor[20];
        int sec = 0;
        int incubate = 0;
        int interval = 1;

        int parsed = sscanf(command, "%[^,],%d,%d,%d", sensor, &sec, &incubate, &interval);

        if (parsed >= 2)
        {
            if (interval <= 1)
            {
                interval = 1; /* Default to 1-second delay if 0 or 1 passed */
            }

            if (strcmp(sensor, "AS7341") == 0)
            {
                execCmd.sensor = SENSOR_AS7341;
                execCmd.duration = sec;
                execCmd.incubation = incubate;
                execCmd.delay = interval;
                start = 1;
            }
            else if (strcmp(sensor, "LTR390") == 0)
            {
                execCmd.sensor = SENSOR_LTR390;
                execCmd.duration = sec;
                execCmd.incubation = incubate;
                execCmd.delay = interval;
                start = 1;
            }
            else
            {
//                UART_Send("UNKNOWN COMMAND\r\n");
            	UART_SendFormatted("UNKNOWN COMMAND: '%s'\r\n", command);
                return;
            }
        }
        else
        {
//            UART_Send("UNKNOWN COMMAND\r\n");
        	UART_SendFormatted("UNKNOWN COMMAND: '%s'\r\n", command);
            return;
        }
    }

    /* Store for thread execution */
    uartCmdTemp.sensor = execCmd.sensor;
    uartCmdTemp.duration = execCmd.duration;
    uartCmdTemp.incubation = execCmd.incubation;
    uartCmdTemp.delay = execCmd.delay;
    uartCmdTemp.start = start;

    /* Set state and trigger the appropriate task */
    switch (start)
    {
        case 1:

        	measurementComplete = 0;

            if (execCmd.sensor == SENSOR_AS7341)
            {
                systemState = STATE_AS7341_MEASURE;
                osThreadSetPriority(AS7341_SendHandle, osPriorityNormal);
            }
            else if (execCmd.sensor == SENSOR_LTR390)
            {
                systemState = STATE_LTR390_MEASURE;
                osThreadSetPriority(Send_LTR390Handle, osPriorityNormal);
            }
            UART_Send("SENSOR MEASUREMENT START\r\n");
            break;
        case 2:
            systemState = STATE_STEPPER_HOME;
            osThreadSetPriority(Stepper_HomeHandle, osPriorityNormal);
            UART_Send("STEPPER HOME START\r\n");
            break;
        case 3:
            systemState = STATE_WHITE_LED_ALIGN;
            osThreadSetPriority(White_Led_AlignHandle, osPriorityNormal);
            UART_Send("WHITE LED ALIGN START\r\n");
            break;
        case 4:
            systemState = STATE_UV_LED_ALIGN;
            osThreadSetPriority(UV_Led_AlignHandle, osPriorityNormal);
            UART_Send("UV LED ALIGN START\r\n");
            break;
        case 5:
            systemState = STATE_ASPIRATE_SAMPLE;
            osThreadSetPriority(AspirateHandle, osPriorityNormal);
            UART_Send("ASPIRATE SAMPLE START\r\n");
            break;
        case 6:
            systemState = STATE_FLOW_CELL_CLEAN;
            osThreadSetPriority(Clean_Flow_CellHandle, osPriorityNormal);
            UART_Send("CLEAN COMMAND RECEIVED\r\n");
            break;
        default:
//            UART_Send("UNKNOWN COMMAND\r\n");
        	UART_SendFormatted("UNKNOWN COMMAND: '%s'\r\n", command);
            return;
    }

    UART_Send("COMMAND ACCEPTED\r\n");
}

void UART_Send(const char *message)
{
    UART_TxMessage_t msg;
    uint16_t len = strlen(message);
    osStatus_t status;

    if (len >= UART_TX_MSG_SIZE)
        len = UART_TX_MSG_SIZE - 1;

    msg.length = len;
    memcpy(msg.data, message, len);

     status = osMessageQueuePut(uartTxQueueHandle, &msg, 0, TX_QUEUE_WAIT_TICKS);

    if (status != osOK)
    {
        uartTxQueueFull++;
    }
}

void HAL_UART_TxCpltCallback(UART_HandleTypeDef *huart)
{
    if (huart->Instance == USART1)
    {
        osSemaphoreRelease(uartTxDoneSemHandle);   /* ISR-safe in CMSIS-OS v2 */
    }
}

void UART_SendFormatted(const char *format, ...)
{
    char buffer[UART_TX_MSG_SIZE];
    va_list args;

    va_start(args, format);
    vsnprintf(buffer, sizeof(buffer), format, args);
    va_end(args);

    UART_Send(buffer);
}

void WaitForIdleAndClean(void)
{
    // Wait for system to become IDLE
    uint32_t timeout = osKernelGetTickCount() + 5000; // 5 second timeout

    while (systemState != STATE_IDLE && osKernelGetTickCount() < timeout)
    {
        osDelay(10);
    }

    if (systemState == STATE_IDLE)
    {
        UART_Send("READY_FOR_CLEAN\r\n");

        uartCmdTemp.start = 6;
        systemState = STATE_FLOW_CELL_CLEAN;

        osThreadSetPriority(Clean_Flow_CellHandle, osPriorityNormal);

        UART_Send("CLEAN COMMAND RECEIVED\r\n");
    }
    else
    {
        UART_Send("TIMEOUT_WAITING_FOR_IDLE\r\n");
    }
}

/* USER CODE END 4 */

void StartAS7341Task(void *argument)
{
  /* USER CODE BEGIN 5 */
  for(;;)
  {

      if(systemState == STATE_AS7341_MEASURE)
      {
          HAL_I2C_DeInit(&hi2c1);
          osDelay(5);
          HAL_I2C_Init(&hi2c1);

          if (HAL_I2C_IsDeviceReady(&hi2c1,
                                    AS7341_I2CADDR_DEFAULT << 1,
                                    5,
                                    MUTEX_TIMEOUT_TICKS) != HAL_OK)
          {
              UART_Send("AS7341 NOT FOUND\r\n");
              systemState = STATE_IDLE;
              osThreadSetPriority(AS7341_SendHandle, osPriorityNormal);
              continue;
          }

          Adafruit_AS7341_Init(&as7341);

          if (!Adafruit_AS7341_begin(&as7341,
                                     AS7341_I2CADDR_DEFAULT,
                                     &hi2c1,
                                     0))
          {
              UART_Send("AS7341 INIT FAILED\r\n");
              systemState = STATE_IDLE;
              osThreadSetPriority(AS7341_SendHandle, osPriorityNormal);
              continue;
          }

          Adafruit_AS7341_setATIME(&as7341, 50);
          Adafruit_AS7341_setASTEP(&as7341, 999);
          Adafruit_AS7341_setGain(&as7341, AS7341_GAIN_16X);

          // Ensure LED is off initially
          ControlWhiteLED(LED_OFF);

          // 1. Incubation phase delay (abortable - ABORT must stop the run even
          //    while the board is incubating)
          if (uartCmdTemp.incubation > 0 &&
              WaitMsOrAbort(uartCmdTemp.incubation * 1000))
          {
              FinishAbortedRun();
              continue;
          }

          // 2. Prepare timing and total reading count parameters
          uint32_t totalDuration = uartCmdTemp.duration;
          uint32_t readingInterval = (uartCmdTemp.delay > 0) ? uartCmdTemp.delay : 1;
          uint32_t totalReadings = totalDuration / readingInterval;

          uint32_t startTime = osKernelGetTickCount();
          uint8_t aborted = 0;

          for (uint32_t readingIdx = 1; readingIdx <= totalReadings; readingIdx++)
          {
              uint32_t targetReadingTimeSec = readingIdx * readingInterval;

              // Turn ON LED 1 second before reading time
              uint32_t ledOnTimeMs = startTime + ((targetReadingTimeSec - 1) * 1000);
              if (WaitUntilOrAbort(ledOnTimeMs))
              {
                  aborted = 1;
                  break;
              }
              ControlWhiteLED(LED_ON);

              // Wait remaining 1s until exact reading timestamp
              uint32_t sampleTimeMs = startTime + (targetReadingTimeSec * 1000);
              if (WaitUntilOrAbort(sampleTimeMs))
              {
                  aborted = 1;
                  break;
              }

              // Perform sensor reading
              if(Adafruit_AS7341_take10ChannelReadings(&as7341, spectral))
              {
                  char tx[100];
                  snprintf(tx,
                           sizeof(tx),
                           "%lu,%u,%u,%u,%u,%u,%u,%u,%u,%u,%u\r\n",
                           targetReadingTimeSec,
                           spectral[0], spectral[1], spectral[2], spectral[3],
                           spectral[4], spectral[5], spectral[6], spectral[7],
                           spectral[8], spectral[9]);

                  UART_Send(tx);
              }

              // Turn OFF LED immediately after reading
              ControlWhiteLED(LED_OFF);
          }

          if (aborted)
          {
              // Host pressed Back / sent ABORT: release the board immediately
              // (idle + LEDs off + ABORT COMPLETE) so the next command runs.
              FinishAbortedRun();
              continue;
          }

          // Reset command variables
          uartCmdTemp.start = 0;
          uartCmdTemp.sensor = SENSOR_NONE;
          measurementComplete = 1;
          systemState = STATE_IDLE;
          osThreadSetPriority(AS7341_SendHandle, osPriorityNormal);

          UART_Send("MEASUREMENT_COMPLETE\r\n");

          osThreadYield();
      }

      osDelay(10);
  }
  /* USER CODE END 5 */
}

void StartLTR390(void *argument)
{
  /* USER CODE BEGIN StartLTR390 */
	  LTR390_HandleTypeDef ltr;

	  LTR390_Init(&ltr, &hi2c3);

	  if(!LTR390_Begin(&ltr))
	  {
	      osDelay(1);
	  }

  for(;;)
  {

      if (systemState == STATE_LTR390_MEASURE)
      {
          if (HAL_I2C_IsDeviceReady(&hi2c3,
                                    0x53 << 1,
                                    2,
                                    MUTEX_TIMEOUT_TICKS) != HAL_OK)
          {
              UART_Send("LTR390 NOT FOUND\r\n");
              systemState = STATE_IDLE;
              osThreadSetPriority(Send_LTR390Handle, osPriorityNormal);
              continue;
          }

          LTR390_Init(&ltr, &hi2c3);

          if (!LTR390_Begin(&ltr))
          {
              UART_Send("LTR390 INIT FAILED\r\n");
              systemState = STATE_IDLE;
              osThreadSetPriority(Send_LTR390Handle, osPriorityNormal);
              continue;
          }

          LTR390_SetMode(&ltr, LTR390_MODE_UVS);
          LTR390_SetGain(&ltr, LTR390_GAIN_18);
          LTR390_SetResolution(&ltr, LTR390_RESOLUTION_20BIT);

          osDelay(450);

          HAL_GPIO_WritePin(UV_LED_GPIO_Port, UV_LED_Pin, GPIO_PIN_RESET);

          uint8_t aborted = 0;

           if (uartCmdTemp.incubation > 0)
          {
              uint32_t incubateEnd = osKernelGetTickCount()
                                     + (uartCmdTemp.incubation * 1000);

              if (WaitUntilOrAbort(incubateEnd))
              {
                  FinishAbortedRun();
                  continue;
              }
          }

          /* UV LED on for the entire measurement window */
          HAL_GPIO_WritePin(UV_LED_GPIO_Port, UV_LED_Pin, GPIO_PIN_SET);

          uint32_t totalDuration   = uartCmdTemp.duration;
          uint32_t readingInterval = (uartCmdTemp.delay > 0) ? uartCmdTemp.delay : 1;
          uint32_t totalReadings   = totalDuration / readingInterval;

          uint32_t startTime = osKernelGetTickCount();

          for (uint32_t readingIdx = 1; readingIdx <= totalReadings; readingIdx++)
          {
              uint32_t targetReadingTimeSec = readingIdx * readingInterval;
              uint32_t sampleTimeMs = startTime + (targetReadingTimeSec * 1000);

              if (WaitUntilOrAbort(sampleTimeMs))
              {
                  aborted = 1;
                  break;
              }

              if (LTR390_NewDataAvailable(&ltr))
              {
                  uv340 = LTR390_ReadUVS(&ltr);
              }

              {
                  char tx[30];
                  snprintf(tx, sizeof(tx), "%lu,%lu\r\n",
                           targetReadingTimeSec, uv340);
                  UART_Send(tx);
              }
          }

          HAL_GPIO_WritePin(UV_LED_GPIO_Port, UV_LED_Pin, GPIO_PIN_RESET);

          if (aborted)
          {
              FinishAbortedRun();
              continue;
          }

          uartCmdTemp.start  = 0;
          uartCmdTemp.sensor = SENSOR_NONE;

          measurementComplete = 1;
          systemState = STATE_IDLE;
          osThreadSetPriority(Send_LTR390Handle, osPriorityNormal);

          UART_Send("MEASUREMENT_COMPLETE\r\n");

          osThreadYield();
      }

      osDelay(10);
  }
  /* USER CODE END StartLTR390 */
}

void SendUART(void *argument)
{
  /* USER CODE BEGIN SendUART */
	UART_TxMessage_t msg;

    for (;;)
    {
         if (osMessageQueueGet(uartTxQueueHandle, &msg, NULL, osWaitForever) != osOK)
             continue;

         /* Copy into the static buffer that DMA will read from */
         uartTxCurrent = msg;

         if (HAL_UART_Transmit_DMA(&huart1,
                                   uartTxCurrent.data,
                                   uartTxCurrent.length) != HAL_OK)
         {
             uartTxQueueFull++;   /* or a dedicated error counter */
             continue;
         }

         /* Wait for TxCplt callback to release us */
         osSemaphoreAcquire(uartTxDoneSemHandle, osWaitForever);
     }
  /* USER CODE END SendUART */
}

void StartStepperHome(void *argument)
{
  /* USER CODE BEGIN StartStepperHome */
//	Stepper_Home();
  /* Infinite loop */
    for(;;)
    {
        if (systemState == STATE_STEPPER_HOME)  // Stepper home command
        {
            // Send acknowledgment
        	UART_Send("STEPPER HOME START\r\n");

            // Call your stepper home function
            Stepper_Home();

            UART_Send("STEPPER HOME COMPLETE\r\n");

            // Return to IDLE
            systemState = STATE_IDLE;
            osThreadSetPriority(Stepper_HomeHandle, osPriorityNormal);
        }

        osDelay(10);
    }
  /* USER CODE END StartStepperHome */
}

void White_Led(void *argument)
{
  /* USER CODE BEGIN White_Led */
  /* Infinite loop */
    for(;;)
    {
      if (systemState == STATE_WHITE_LED_ALIGN)
      {
    	  UART_Send("WHITE LED ALIGN START\r\n");

        // Perform alignment

        Stepper_White_LED_Align();

        UART_Send("WHITE LED ALIGN COMPLETE\r\n");

        // Return to IDLE
        systemState = STATE_IDLE;
        osThreadSetPriority(White_Led_AlignHandle, osPriorityNormal);
      }

      osDelay(10);
    }
  /* USER CODE END White_Led */
}

void UV_Led(void *argument)
{
  /* USER CODE BEGIN UV_Led */
//	Stepper_UV_Sensor_Align();
  /* Infinite loop */
    for(;;)
    {
        if (systemState == STATE_UV_LED_ALIGN)  // UV LED align command
        {
            // Send acknowledgment
        	UART_Send("UV LED ALIGN START\r\n");

            Stepper_UV_Sensor_Align();

            UART_Send("UV LED ALIGN COMPLETE\r\n");

            // Return to IDLE
            systemState = STATE_IDLE;
            osThreadSetPriority(UV_Led_AlignHandle, osPriorityNormal);
        }

        osDelay(10);
    }
  /* USER CODE END UV_Led */
}

void Aspirate_Sample(void *argument)
{
  /* USER CODE BEGIN Aspirate_Sample */
    // Initialize the pump with TIM3 handle

    for(;;)
    {
        if (systemState == STATE_ASPIRATE_SAMPLE)
        {
            UART_Send("ASPIRATE SAMPLE START\r\n");

            /* Acquire pump mutex with timeout */
            if (osMutexAcquire(pumpMutexHandle, MUTEX_TIMEOUT_TICKS) == osOK)
            {
                PUMP_Move(
                    PUMP_FORWARD,
                    400, //500
                    75
                );

                HAL_GPIO_WritePin(Buzzer_GPIO_Port, Buzzer_Pin, GPIO_PIN_SET);
                osDelay(100);
                HAL_GPIO_WritePin(Buzzer_GPIO_Port, Buzzer_Pin, GPIO_PIN_RESET);

                osDelay(2000);

                PUMP_Move(
                    PUMP_FORWARD,
                    360, //300
                    80
                );

                PUMP_Stop();

                osMutexRelease(pumpMutexHandle);

                UART_Send("ASPIRATE SAMPLE COMPLETE\r\n");
            }
            else
            {
                UART_Send("ASPIRATE FAILED: PUMP BUSY\r\n");
            }

            uartCmdTemp.start = 0;
            uartCmdTemp.sensor = SENSOR_NONE;
            uartCmdTemp.duration = 0;
            uartCmdTemp.incubation = 0;

            systemState = STATE_IDLE;

            osThreadSetPriority(
                AspirateHandle,
                osPriorityNormal
            );
        }

        osDelay(10);
    }
  /* USER CODE END Aspirate_Sample */
}

void Command_Dispatcher(void *argument)
{
  /* USER CODE BEGIN Command_Dispatcher */
    UART_CommandMessage_t cmdMsg;
    osStatus_t status;
  /* Infinite loop */
  for(;;)
  {
      /* Report any UART errors */
      if (uartErrorCode != 0)
      {
          uint32_t err = uartErrorCode;
          uartErrorCode = 0;

          UART_Send("UART ERROR: ");
          if (err & HAL_UART_ERROR_PE) UART_Send("PARITY ");
          if (err & HAL_UART_ERROR_NE) UART_Send("NOISE ");
          if (err & HAL_UART_ERROR_FE) UART_Send("FRAME ");
          if (err & HAL_UART_ERROR_ORE) UART_Send("OVERRUN ");
          UART_Send("\r\n");

          /* NOTE: do NOT touch HAL_UART_Receive_IT / AbortReceive here.
             HAL_UART_ErrorCallback already aborts and re-arms RX.
             Re-arming from here races the ISR and can leave RX disarmed
             (HAL_BUSY returned and ignored), which is exactly what caused
             the "measurement #4 got zero bytes" failure. */
      }

      /* Report RX queue overflow (latched by the ISR) */
      if (uartRxQueueOverflowFlag)
      {
          uartRxQueueOverflowFlag = 0;
          UART_SendFormatted("RX QUEUE FULL (total=%lu)\r\n",
                             (unsigned long)uartRxQueueOverflow);
      }

      /* Check for commands */
      status = osMessageQueueGet(uartRxQueueHandle, &cmdMsg, NULL, 0);
      if (status == osOK)
      {
          ProcessUARTCommand(cmdMsg.command);
      }

      /* State machine */
      switch (systemState)
      {
          case STATE_IDLE:
              if (limitSwitchPressed)
              {
                  limitSwitchPressed = 0;
                  UART_Send("LIMIT SWITCH PRESSED SUCCESSFULLY\r\n");
              }
              break;

          case STATE_WHITE_LED_ALIGN:
          case STATE_UV_LED_ALIGN:
          case STATE_STEPPER_HOME:
          case STATE_ASPIRATE_SAMPLE:
          case STATE_AS7341_MEASURE:
          case STATE_LTR390_MEASURE:
          case STATE_FLOW_CELL_CLEAN:
              break;

          default:
              systemState = STATE_IDLE;
              break;
      }

      osDelay(10);
  }
  /* USER CODE END Command_Dispatcher */
}

void Limit_sw_pressed(void *argument)
{
  /* USER CODE BEGIN Limit_sw_pressed */
    uint8_t lastState = 0;

    for(;;)
    {
        uint8_t currentState =
            HAL_GPIO_ReadPin(Limit_SW_GPIO_Port, Limit_SW_Pin);

        /* Detect NEW physical press */
        if (currentState && !lastState)
        {
            /*
             * Accept only if system was IDLE
             * when the switch was pressed.
             */
            uint8_t acceptPress = (systemState == STATE_IDLE);

            /* Debounce */
            osDelay(50);

            /* Verify switch is still pressed */
            currentState =
                HAL_GPIO_ReadPin(Limit_SW_GPIO_Port, Limit_SW_Pin);

            /*
             * Successful limit switch press
             */
            if (currentState && acceptPress)
            {
                limitSwitchPressed = 1;

                UART_Send("LIMIT SWITCH PRESS SUCCESSFUL\r\n");
            }
        }

        /* Remember physical switch state */
        lastState = currentState;

        osDelay(10);
    }

  /* USER CODE END Limit_sw_pressed */
}

void Flow_Cell_Clean(void *argument)
{
  /* USER CODE BEGIN Flow_Cell_Clean */

  /* Infinite loop */
	  for(;;)
	  {
	      if (systemState == STATE_FLOW_CELL_CLEAN)
	      {
	          UART_Send("FLOW CELL CLEAN START\r\n");

//	          /* Try to acquire mutex with 100 tick timeout */
//	          if (osMutexAcquire(pumpMutexHandle, MUTEX_TIMEOUT_TICKS) == osOK)
//	          {
	              PUMP_Move(
	                  PUMP_FORWARD,
	                  1500,
	                  80
	              );

	              PUMP_Stop();

//	              osMutexRelease(pumpMutexHandle);

	              UART_Send("FLOW CELL CLEAN COMPLETE\r\n");
//	          }
//	          else
//	          {
//	              UART_Send("CLEAN FAILED: PUMP BUSY\r\n");
//	          }

	          /* ALWAYS reset state and clear command */
	          uartCmdTemp.start = 0;
	          uartCmdTemp.sensor = SENSOR_NONE;
	          uartCmdTemp.duration = 0;
	          uartCmdTemp.incubation = 0;

	          systemState = STATE_IDLE;

	          osThreadSetPriority(
	              Clean_Flow_CellHandle,
	              osPriorityNormal
	          );
	      }

	      osDelay(10);
	  }
  /* USER CODE END Flow_Cell_Clean */
}

void pump_initialize(void *argument)
{
  /* USER CODE BEGIN pump_initialize */
  /* Infinite loop */
  for(;;)
  {
      if (initializePumpRequested)
      {
          initializePumpRequested = 0;

          UART_Send("PUMP INITIALIZATION START\r\n");

          /* Try to acquire mutex with 100 tick timeout */
          if (osMutexAcquire(pumpMutexHandle, MUTEX_TIMEOUT_TICKS) == osOK)
          {
              PUMP_Move(
                  PUMP_FORWARD,
                  1000,
                  80
              );

              PUMP_Stop();

              osMutexRelease(pumpMutexHandle);

              UART_Send("PUMP INITIALIZATION COMPLETE\r\n");
          }
          else
          {
              UART_Send("PUMP INITIALIZATION FAILED: PUMP BUSY\r\n");
          }
      }

      osDelay(10);
  }
  /* USER CODE END pump_initialize */
}

void reset(void *argument)
{
  /* USER CODE BEGIN reset */
    GPIO_PinState lastState = HAL_GPIO_ReadPin(Reset_GPIO_Port, Reset_Pin);
//	uint8_t lastState = 0;
  /* Infinite loop */
  for(;;)
  {
      GPIO_PinState currentState =
          HAL_GPIO_ReadPin(Reset_GPIO_Port, Reset_Pin);

      if ((currentState == GPIO_PIN_SET) &&
          (lastState == GPIO_PIN_RESET))
      {
          UART_Send("SOFTWARE RESET\r\n");

          osDelay(100);

          NVIC_SystemReset();
      }

      lastState = currentState;

      osDelay(10);
  }

  /* USER CODE END reset */
}

void Cancel_Read_Sensor(void *argument)
{
  /* USER CODE BEGIN Cancel_Read_Sensor */
//    uint8_t lastPinState = 0;
  /* Cancellation is driven by the ABORT command (see ProcessUARTCommand),
     which the sensor workers honour through cancelSensorReading. */
  /* Infinite loop */
  for(;;)
  {
      /* This loop used to spin with no delay and no body at all, which burnt
         the lowest-priority slot continuously. A tick of slack keeps the
         scheduler (and UART service) responsive. */
      osDelay(50);
//      uint8_t pinState = HAL_GPIO_ReadPin(
//          Cancel_Sensor_Reading_Task_GPIO_Port,
//          Cancel_Sensor_Reading_Task_Pin
//      );
//
//      /* Detect rising edge */
//      if (pinState == GPIO_PIN_SET && lastPinState == GPIO_PIN_RESET)
//      {
//          /* Only act if a sensor measurement is running */
//          if (systemState == STATE_AS7341_MEASURE ||
//              systemState == STATE_LTR390_MEASURE)
//          {
//              cancelSensorReading = 1;
//              UART_Send("CANCEL REQUEST RECEIVED\r\n");
//          }
//          else
//          {
//              UART_Send("CANCEL IGNORED: NO SENSOR READING ACTIVE\r\n");
//          }
//      }
//
//      lastPinState = pinState;
//      osDelay(20);   /* 20 ms poll — debounce naturally */
  }
  /* USER CODE END Cancel_Read_Sensor */
}

void HAL_TIM_PeriodElapsedCallback(TIM_HandleTypeDef *htim)
{
  if (htim->Instance == TIM4)
  {
    HAL_IncTick();
  }
}

void Error_Handler(void)
{
  __disable_irq();
  while (1)
  {
  }
}
